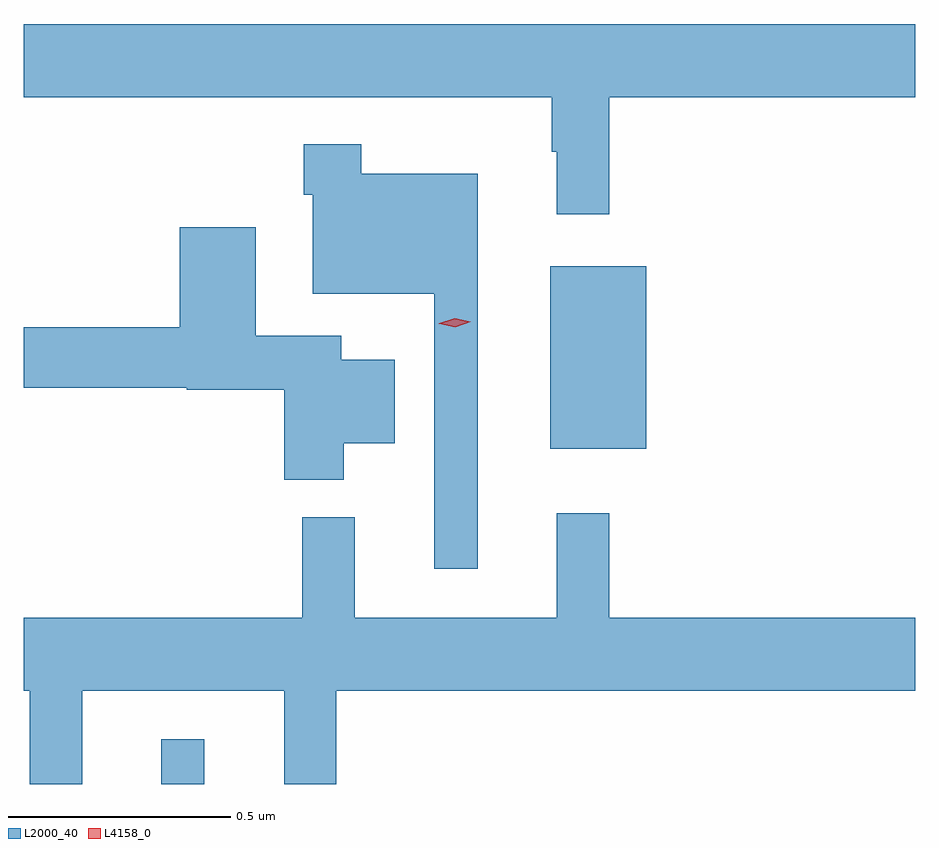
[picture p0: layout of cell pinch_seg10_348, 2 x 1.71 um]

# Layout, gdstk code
import gdstk
lib = gdstk.Library(unit=1e-6, precision=1e-09)
def R(c, l, rs):  # rectangles x0, y0, x1, y1
    for r in rs: c.add(gdstk.rectangle(r[:2], r[2:], *l))
def P(c, l, *ps):  # polygons
    for p in ps: c.add(gdstk.Polygon(p, *l))
L2000_40 = (2000, 40)
L4158_0 = (4158, 0)

pinch_seg10_348 = lib.new_cell('pinch_seg10_348')
R(pinch_seg10_348, L2000_40, [(405.938,1280.127,406.035,1280.227), (406.811,1280.879,407.026,1281.289)])
P(pinch_seg10_348, L2000_40, [(406.943,1281.668),(407.63,1281.668),(407.63,1281.832),(405.63,1281.832),(405.63,1281.668),(406.815,1281.668),(406.815,1281.545),(406.826,1281.545),(406.826,1281.405),(406.943,1281.405)],
  [(406.648,1281.496),(406.387,1281.496),(406.387,1281.562),(406.258,1281.562),(406.258,1281.449),(406.278,1281.449),(406.278,1281.227),(406.551,1281.227),(406.551,1280.61),(406.648,1280.61)],
  [(406.348,1280.891),(406.462,1280.891),(406.462,1281.079),(406.342,1281.079),(406.342,1281.133),(406.15,1281.133),(406.15,1281.376),(405.98,1281.376),(405.98,1281.152),(405.63,1281.152),(405.63,1281.016),(405.996,1281.016),(405.996,1281.011),(406.214,1281.011),(406.214,1280.81),(406.348,1280.81)],
  [(405.761,1280.336),(406.214,1280.336),(406.214,1280.127),(406.331,1280.127),(406.331,1280.336),(407.63,1280.336),(407.63,1280.5),(406.943,1280.5),(406.943,1280.734),(406.826,1280.734),(406.826,1280.5),(406.373,1280.5),(406.373,1280.725),(406.255,1280.725),(406.255,1280.5),(405.63,1280.5),(405.63,1280.336),(405.643,1280.336),(405.643,1280.127),(405.761,1280.127)])
P(pinch_seg10_348, L4158_0, [(406.598,1281.152),(406.562,1281.16),(406.561,1281.16),(406.562,1281.161),(406.597,1281.172),(406.633,1281.164),(406.633,1281.164),(406.633,1281.164)])

lib.write_gds('pinch_seg10_348.gds')
